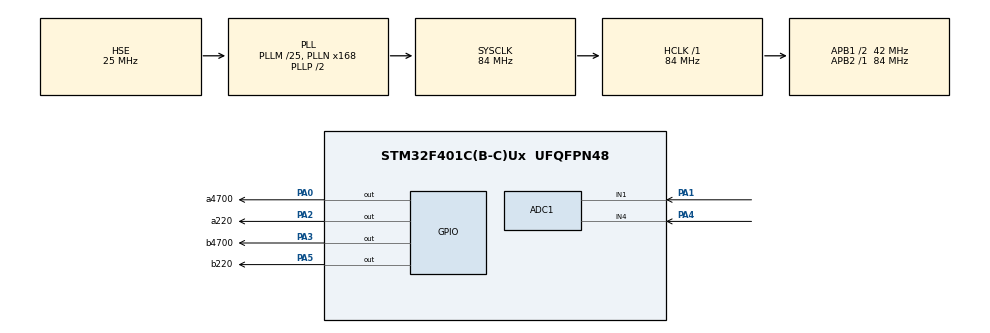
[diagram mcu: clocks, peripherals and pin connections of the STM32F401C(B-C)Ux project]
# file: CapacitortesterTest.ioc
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ADC1.Channel-0\#ChannelRegularConversion=ADC_CHANNEL_1
ADC1.Channel-1\#ChannelRegularConversion=ADC_CHANNEL_4
ADC1.NbrOfConversion=2
ADC1.NbrOfConversionFlag=1
ADC1.Rank-0\#ChannelRegularConversion=1
ADC1.Rank-1\#ChannelRegularConversion=2
ADC1.SamplingTime-0\#ChannelRegularConversion=ADC_SAMPLETIME_480CYCLES
ADC1.SamplingTime-1\#ChannelRegularConversion=ADC_SAMPLETIME_480CYCLES
ADC1.master=1
Dma.ADC1.0.Direction=DMA_PERIPH_TO_MEMORY
Dma.ADC1.0.FIFOMode=DMA_FIFOMODE_DISABLE
Dma.ADC1.0.Instance=DMA2_Stream0
Dma.ADC1.0.MemDataAlignment=DMA_MDATAALIGN_HALFWORD
Dma.ADC1.0.MemInc=DMA_MINC_ENABLE
Dma.ADC1.0.Mode=DMA_CIRCULAR
Dma.ADC1.0.PeriphDataAlignment=DMA_PDATAALIGN_HALFWORD
Dma.ADC1.0.PeriphInc=DMA_PINC_DISABLE
Dma.ADC1.0.Priority=DMA_PRIORITY_LOW
Dma.Request0=ADC1
Mcu.Family=STM32F4
Mcu.Name=STM32F401C(B-C)Ux
Mcu.Package=UFQFPN48
NVIC.DMA2_Stream0_IRQn=true\:0\:0\:false\:false\:true\:false\:true\:true
NVIC.PriorityGroup=NVIC_PRIORITYGROUP_4
PA0-WKUP.GPIO_Label=a4700
PA0-WKUP.Signal=GPIO_Output
PA1.Signal=ADCx_IN1
PA13.Mode=Serial_Wire
PA13.Signal=SYS_JTMS-SWDIO
PA14.Mode=Serial_Wire
PA14.Signal=SYS_JTCK-SWCLK
PA2.GPIO_Label=a220
PA2.Signal=GPIO_Output
PA3.GPIO_Label=b4700
PA3.Signal=GPIO_Output
PA4.Signal=ADCx_IN4
PA5.GPIO_Label=b220
PA5.Signal=GPIO_Output
PH0\ -\ OSC_IN.Mode=HSE-External-Oscillator
PH0\ -\ OSC_IN.Signal=RCC_OSC_IN
PH1\ -\ OSC_OUT.Mode=HSE-External-Oscillator
PH1\ -\ OSC_OUT.Signal=RCC_OSC_OUT
ProjectManager.HeapSize=0x200
ProjectManager.StackSize=0x400
ProjectManager.TargetToolchain=STM32CubeIDE
RCC.48MHZClocksFreq_Value=42000000
RCC.AHBFreq_Value=84000000
RCC.APB1CLKDivider=RCC_HCLK_DIV2
RCC.APB1Freq_Value=42000000
RCC.APB1TimFreq_Value=84000000
RCC.APB2Freq_Value=84000000
RCC.APB2TimFreq_Value=84000000
RCC.CortexFreq_Value=84000000
RCC.HCLKFreq_Value=84000000
RCC.HSE_VALUE=25000000
RCC.HSI_VALUE=16000000
RCC.LSE_VALUE=32768
RCC.PLLM=25
RCC.PLLN=168
RCC.PLLSourceVirtual=RCC_PLLSOURCE_HSE
RCC.SYSCLKFreq_VALUE=84000000
RCC.SYSCLKSource=RCC_SYSCLKSOURCE_PLLCLK
RCC.VCOOutputFreq_Value=168000000
SH.ADCx_IN1.0=ADC1_IN1,IN1
SH.ADCx_IN4.0=ADC1_IN4,IN4
board=custom

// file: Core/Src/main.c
/* USER CODE BEGIN Header */
/**
  ******************************************************************************
  * @file           : main.c
  * @brief          : Main program body
  ******************************************************************************
  * @attention
  *
  * Copyright (c) 2022 STMicroelectronics.
  * All rights reserved.
  *
  * This software is licensed under terms that can be found in the LICENSE file
  * in the root directory of this software component.
  * If no LICENSE file comes with this software, it is provided AS-IS.
  *
  ******************************************************************************
  */
/* USER CODE END Header */
#include "main.h"

/* USER CODE BEGIN Includes */
#include "stdbool.h"
/* USER CODE END Includes */

/* USER CODE BEGIN PTD */
struct Capacitor{
	uint32_t Capacity;
	uint32_t Ecr;
};
/* USER CODE END PTD */

/* USER CODE BEGIN PD */
#define CountADC 2
#define ARref1 4950
#define ARref2 214
#define BRref1 4360
#define BRref2 218
#define Rthr 980 //threshoold os resistanve for swap threshoold of dimension
#define minAmp 100 //minimum amperage of open diode in na
#define mxVolt 3

#define    DWT_CYCCNT    *(volatile uint32_t*)0xE0001004
#define    DWT_CONTROL   *(volatile uint32_t*)0xE0001000
#define    SCB_DEMCR     *(volatile uint32_t*)0xE000EDFC
/* USER CODE END PD */

ADC_HandleTypeDef hadc1;
DMA_HandleTypeDef hdma_adc1;

/* USER CODE BEGIN PV */
uint16_t adc_values[CountADC];
double Vref = 3.28;
bool adcReady = false;
/* USER CODE END PV */

void SystemClock_Config(void);
static void MX_GPIO_Init(void);
static void MX_DMA_Init(void);
static void MX_ADC1_Init(void);
/* USER CODE BEGIN PFP */
void readCapacitor(struct Capacitor * cap);
/* USER CODE END PFP */

int main(void)
{

  /* MCU Configuration--------------------------------------------------------*/

  /* Reset of all peripherals, Initializes the Flash interface and the Systick. */
  HAL_Init();

  /* Configure the system clock */
  SystemClock_Config();

  /* Initialize all configured peripherals */
  MX_GPIO_Init();
  MX_DMA_Init();
  MX_ADC1_Init();

  /* Infinite loop */
  while (1)
  {
	  struct Capacitor ex_1;
	  readCapacitor(&ex_1);
	  HAL_Delay(1);
  }
}

void SystemClock_Config(void)
{
  RCC_OscInitTypeDef RCC_OscInitStruct = {0};
  RCC_ClkInitTypeDef RCC_ClkInitStruct = {0};

  /** Configure the main internal regulator output voltage
  */
  __HAL_RCC_PWR_CLK_ENABLE();
  __HAL_PWR_VOLTAGESCALING_CONFIG(PWR_REGULATOR_VOLTAGE_SCALE2);

  /** Initializes the RCC Oscillators according to the specified parameters
  * in the RCC_OscInitTypeDef structure.
  */
  RCC_OscInitStruct.OscillatorType = RCC_OSCILLATORTYPE_HSE;
  RCC_OscInitStruct.HSEState = RCC_HSE_ON;
  RCC_OscInitStruct.PLL.PLLState = RCC_PLL_ON;
  RCC_OscInitStruct.PLL.PLLSource = RCC_PLLSOURCE_HSE;
  RCC_OscInitStruct.PLL.PLLM = 25;
  RCC_OscInitStruct.PLL.PLLN = 168;
  RCC_OscInitStruct.PLL.PLLP = RCC_PLLP_DIV2;
  RCC_OscInitStruct.PLL.PLLQ = 4;
  if (HAL_RCC_OscConfig(&RCC_OscInitStruct) != HAL_OK)
  {
    Error_Handler();
  }

  /** Initializes the CPU, AHB and APB buses clocks
  */
  RCC_ClkInitStruct.ClockType = RCC_CLOCKTYPE_HCLK|RCC_CLOCKTYPE_SYSCLK
                              |RCC_CLOCKTYPE_PCLK1|RCC_CLOCKTYPE_PCLK2;
  RCC_ClkInitStruct.SYSCLKSource = RCC_SYSCLKSOURCE_PLLCLK;
  RCC_ClkInitStruct.AHBCLKDivider = RCC_SYSCLK_DIV1;
  RCC_ClkInitStruct.APB1CLKDivider = RCC_HCLK_DIV2;
  RCC_ClkInitStruct.APB2CLKDivider = RCC_HCLK_DIV1;

  if (HAL_RCC_ClockConfig(&RCC_ClkInitStruct, FLASH_LATENCY_2) != HAL_OK)
  {
    Error_Handler();
  }
}

static void MX_ADC1_Init(void)
{

  ADC_ChannelConfTypeDef sConfig = {0};

  /** Configure the global features of the ADC (Clock, Resolution, Data Alignment and number of conversion)
  */
  hadc1.Instance = ADC1;
  hadc1.Init.ClockPrescaler = ADC_CLOCK_SYNC_PCLK_DIV4;
  hadc1.Init.Resolution = ADC_RESOLUTION_12B;
  hadc1.Init.ScanConvMode = ENABLE;
  hadc1.Init.ContinuousConvMode = DISABLE;
  hadc1.Init.DiscontinuousConvMode = DISABLE;
  hadc1.Init.ExternalTrigConvEdge = ADC_EXTERNALTRIGCONVEDGE_NONE;
  hadc1.Init.ExternalTrigConv = ADC_SOFTWARE_START;
  hadc1.Init.DataAlign = ADC_DATAALIGN_RIGHT;
  hadc1.Init.NbrOfConversion = 2;
  hadc1.Init.DMAContinuousRequests = DISABLE;
  hadc1.Init.EOCSelection = ADC_EOC_SINGLE_CONV;
  if (HAL_ADC_Init(&hadc1) != HAL_OK)
  {
    Error_Handler();
  }

  /** Configure for the selected ADC regular channel its corresponding rank in the sequencer and its sample time.
  */
  sConfig.Channel = ADC_CHANNEL_1;
  sConfig.Rank = 1;
  sConfig.SamplingTime = ADC_SAMPLETIME_480CYCLES;
  if (HAL_ADC_ConfigChannel(&hadc1, &sConfig) != HAL_OK)
  {
    Error_Handler();
  }

  /** Configure for the selected ADC regular channel its corresponding rank in the sequencer and its sample time.
  */
  sConfig.Channel = ADC_CHANNEL_4;
  sConfig.Rank = 2;
  if (HAL_ADC_ConfigChannel(&hadc1, &sConfig) != HAL_OK)
  {
    Error_Handler();
  }

}

static void MX_DMA_Init(void)
{

  /* DMA controller clock enable */
  __HAL_RCC_DMA2_CLK_ENABLE();

  /* DMA interrupt init */
  /* DMA2_Stream0_IRQn interrupt configuration */
  HAL_NVIC_SetPriority(DMA2_Stream0_IRQn, 0, 0);
  HAL_NVIC_EnableIRQ(DMA2_Stream0_IRQn);

}

static void MX_GPIO_Init(void)
{
  GPIO_InitTypeDef GPIO_InitStruct = {0};

  /* GPIO Ports Clock Enable */
  __HAL_RCC_GPIOH_CLK_ENABLE();
  __HAL_RCC_GPIOA_CLK_ENABLE();

  /*Configure GPIO pin Output Level */
  HAL_GPIO_WritePin(GPIOA, a4700_Pin|a220_Pin|b4700_Pin|b220_Pin, GPIO_PIN_RESET);

  /*Configure GPIO pins : a4700_Pin a220_Pin b4700_Pin b220_Pin */
  GPIO_InitStruct.Pin = a4700_Pin|a220_Pin|b4700_Pin|b220_Pin;
  GPIO_InitStruct.Mode = GPIO_MODE_OUTPUT_PP;
  GPIO_InitStruct.Pull = GPIO_NOPULL;
  GPIO_InitStruct.Speed = GPIO_SPEED_FREQ_LOW;
  HAL_GPIO_Init(GPIOA, &GPIO_InitStruct);

}

/* USER CODE BEGIN 4 */

void HAL_ADC_ConvCpltCallback(ADC_HandleTypeDef* hadc){
  if(hadc->Instance == ADC1){
	  HAL_ADC_Stop_DMA(&hadc1);
	  adcReady = true;
  }
}

void readCapacitor(struct Capacitor * cap){
	GPIO_InitTypeDef GPIO_InitStruct;

	//first step - try to discharge capasitor
	//	set all pins at 0
	GPIO_InitStruct.Pin = a4700_Pin;
	GPIO_InitStruct.Mode = GPIO_MODE_OUTPUT_PP;
	GPIO_InitStruct.Pull = GPIO_NOPULL;
	HAL_GPIO_Init(a4700_GPIO_Port, &GPIO_InitStruct);
	HAL_GPIO_WritePin(a4700_GPIO_Port, a4700_Pin, 0);

	GPIO_InitStruct.Pin = a220_Pin;
	GPIO_InitStruct.Mode = GPIO_MODE_OUTPUT_PP;
	GPIO_InitStruct.Pull = GPIO_NOPULL;
	HAL_GPIO_Init(a220_GPIO_Port, &GPIO_InitStruct);
	HAL_GPIO_WritePin(a220_GPIO_Port, a220_Pin, 0);

	GPIO_InitStruct.Pin = b4700_Pin;
	GPIO_InitStruct.Mode = GPIO_MODE_OUTPUT_PP;
	GPIO_InitStruct.Pull = GPIO_NOPULL;
	HAL_GPIO_Init(b4700_GPIO_Port, &GPIO_InitStruct);
	HAL_GPIO_WritePin(b4700_GPIO_Port, b4700_Pin, 0);

	GPIO_InitStruct.Pin = b220_Pin;
	GPIO_InitStruct.Mode = GPIO_MODE_OUTPUT_PP;
	GPIO_InitStruct.Pull = GPIO_NOPULL;
	HAL_GPIO_Init(b220_GPIO_Port, &GPIO_InitStruct);
	HAL_GPIO_WritePin(b220_GPIO_Port, b220_Pin, 0);

	//wait while capacitor discharging
	uint16_t volt = 5000;
	while(volt > 15){
		//read ADC
		HAL_ADC_Start_DMA(&hadc1, (uint32_t*) adc_values, CountADC);
		while(!adcReady){}	//wait for end adc conversion
		adcReady = false;
		volt = adc_values[0] + adc_values[1];
	}

	// step 2 -- read capacity
	//set A port as 1 and b4700 as Hi-z and b220 as 0
	GPIO_InitStruct.Pin = b4700_Pin;
	GPIO_InitStruct.Mode = GPIO_MODE_INPUT;
	GPIO_InitStruct.Pull = GPIO_NOPULL;
	HAL_GPIO_Init(b4700_GPIO_Port, &GPIO_InitStruct);

//	uint32_t delt_time = 0;	//start timer
	uint16_t volt_adc = 0;
	uint16_t volt_adc_must = mxVolt*4095/Vref;
//	double q1 = 0;
//	double q2 = 0;
	uint64_t q = 0;
//	uint16_t ln = 0;

	SCB_DEMCR |= CoreDebug_DEMCR_TRCENA_Msk;// разрешаем использовать DWT
	DWT_CONTROL|= DWT_CTRL_CYCCNTENA_Msk; // включаем счётчик
	DWT_CYCCNT = 0;// обнуляем счётчик

	HAL_GPIO_WritePin(a220_GPIO_Port, a220_Pin, 1);
	HAL_GPIO_WritePin(a4700_GPIO_Port, a4700_Pin, 1);

	DWT_CYCCNT = 0;
	while(volt_adc < volt_adc_must){
		//read ADC
//		DWT_CYCCNT = 0;
		HAL_ADC_Start_DMA(&hadc1, (uint32_t*) adc_values, CountADC);
		while(!adcReady){}	//wait for end adc conversion
		adcReady = false;
//		delt_time2 = DWT_CYCCNT;
//		q1 += (double)delt_time * ((double)Vref * adc_values[1]*1000 / BRref2/4095);
//		q2+= (double)delt_time2 * ((double)Vref * adc_values[1] / BRref2/4095);
		q += DWT_CYCCNT * adc_values[1];
		DWT_CYCCNT = 0;
		volt_adc = adc_values[0] - adc_values[1];
//		ln ++;
	}
//	q2 = q2 / SystemCoreClock * 1000000;
//	cap->Capacity = (double)q1/mxVolt*1000000;
//	cap->Ecr = (double)q2/mxVolt*1000000;
	q = q * Vref * 1000000000000 / BRref2 / 4095 / SystemCoreClock;
	cap->Capacity = q/mxVolt;

}

/* USER CODE END 4 */

void Error_Handler(void)
{
  __disable_irq();
  while (1)
  {
  }
}
